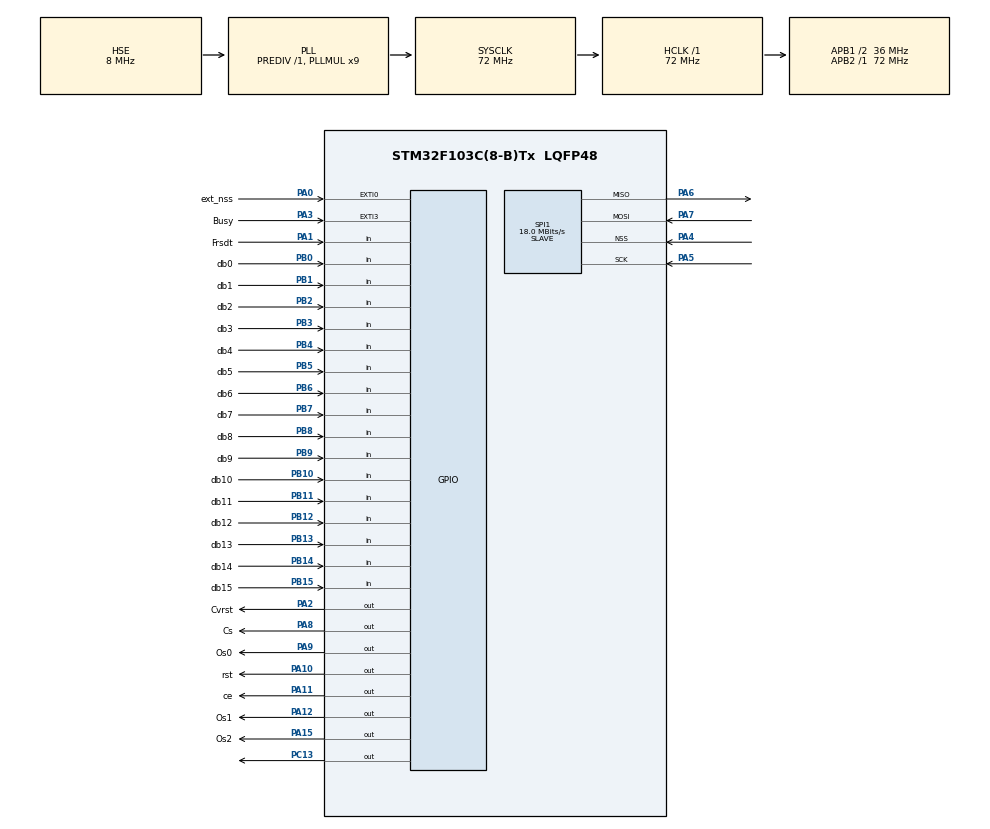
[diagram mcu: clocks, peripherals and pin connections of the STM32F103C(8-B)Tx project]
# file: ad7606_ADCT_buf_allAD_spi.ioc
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Dma.Request0=SPI1_RX
Dma.Request1=SPI1_TX
Dma.SPI1_RX.0.Direction=DMA_PERIPH_TO_MEMORY
Dma.SPI1_RX.0.Instance=DMA1_Channel2
Dma.SPI1_RX.0.MemDataAlignment=DMA_MDATAALIGN_BYTE
Dma.SPI1_RX.0.MemInc=DMA_MINC_ENABLE
Dma.SPI1_RX.0.Mode=DMA_CIRCULAR
Dma.SPI1_RX.0.PeriphDataAlignment=DMA_PDATAALIGN_BYTE
Dma.SPI1_RX.0.PeriphInc=DMA_PINC_DISABLE
Dma.SPI1_RX.0.Priority=DMA_PRIORITY_HIGH
Dma.SPI1_TX.1.Direction=DMA_MEMORY_TO_PERIPH
Dma.SPI1_TX.1.Instance=DMA1_Channel3
Dma.SPI1_TX.1.MemDataAlignment=DMA_MDATAALIGN_BYTE
Dma.SPI1_TX.1.MemInc=DMA_MINC_ENABLE
Dma.SPI1_TX.1.Mode=DMA_CIRCULAR
Dma.SPI1_TX.1.PeriphDataAlignment=DMA_PDATAALIGN_BYTE
Dma.SPI1_TX.1.PeriphInc=DMA_PINC_DISABLE
Dma.SPI1_TX.1.Priority=DMA_PRIORITY_HIGH
FREERTOS.BinarySemaphores01=habAQ,Dynamic,NULL;habENV,Dynamic,NULL
FREERTOS.INCLUDE_xEventGroupSetBitFromISR=0
FREERTOS.Tasks01=enviaTask,0,128,StartEnviaTask,Default,NULL,Dynamic,NULL,NULL;aquisitaTask,2,128,StartAquisitaTask,Default,NULL,Dynamic,NULL,NULL
Mcu.Family=STM32F1
Mcu.Name=STM32F103C(8-B)Tx
Mcu.Package=LQFP48
NVIC.DMA1_Channel2_IRQn=true\:5\:0\:false\:false\:true\:true\:false\:true
NVIC.DMA1_Channel3_IRQn=true\:5\:0\:true\:false\:true\:true\:false\:true
NVIC.EXTI0_IRQn=true\:5\:0\:false\:false\:true\:true\:true\:true
NVIC.EXTI3_IRQn=true\:5\:0\:true\:false\:true\:true\:true\:true
NVIC.PriorityGroup=NVIC_PRIORITYGROUP_4
NVIC.SPI1_IRQn=true\:5\:0\:true\:false\:true\:true\:true\:true
NVIC.TIM2_IRQn=true\:0\:0\:false\:false\:true\:false\:false\:true
NVIC.TimeBase=TIM2_IRQn
NVIC.TimeBaseIP=TIM2
PA0-WKUP.GPIO_Label=ext_nss
PA0-WKUP.Signal=GPXTI0
PA1.GPIO_Label=Frsdt
PA1.Signal=GPIO_Input
PA10.GPIO_Label=rst
PA10.GPIO_Speed=GPIO_SPEED_FREQ_LOW
PA10.Signal=GPIO_Output
PA11.GPIO_Label=ce
PA11.GPIO_Speed=GPIO_SPEED_FREQ_HIGH
PA11.Signal=GPIO_Output
PA12.GPIO_Label=Os1
PA12.Signal=GPIO_Output
PA13.Mode=Serial_Wire
PA13.Signal=SYS_JTMS-SWDIO
PA14.Mode=Serial_Wire
PA14.Signal=SYS_JTCK-SWCLK
PA15.GPIO_Label=Os2
PA15.Signal=GPIO_Output
PA2.GPIO_Label=Cvrst
PA2.GPIO_Speed=GPIO_SPEED_FREQ_HIGH
PA2.PinState=GPIO_PIN_SET
PA2.Signal=GPIO_Output
PA3.GPIO_Label=Busy
PA3.GPIO_ModeDefaultEXTI=GPIO_MODE_IT_FALLING
PA3.GPIO_PuPd=GPIO_PULLDOWN
PA3.Signal=GPXTI3
PA4.Mode=NSS_Signal_Hard_Input
PA4.Signal=SPI1_NSS
PA5.Mode=Full_Duplex_Slave
PA5.Signal=SPI1_SCK
PA6.Mode=Full_Duplex_Slave
PA6.Signal=SPI1_MISO
PA7.Mode=Full_Duplex_Slave
PA7.Signal=SPI1_MOSI
PA8.GPIO_Label=Cs
PA8.GPIO_Speed=GPIO_SPEED_FREQ_HIGH
PA8.PinState=GPIO_PIN_SET
PA8.Signal=GPIO_Output
PA9.GPIO_Label=Os0
PA9.Signal=GPIO_Output
PB0.GPIO_Label=db0
PB0.Signal=GPIO_Input
PB1.GPIO_Label=db1
PB1.Signal=GPIO_Input
PB10.GPIO_Label=db10
PB10.Signal=GPIO_Input
PB11.GPIO_Label=db11
PB11.Signal=GPIO_Input
PB12.GPIO_Label=db12
PB12.Signal=GPIO_Input
PB13.GPIO_Label=db13
PB13.Signal=GPIO_Input
PB14.GPIO_Label=db14
PB14.Signal=GPIO_Input
PB15.GPIO_Label=db15
PB15.Signal=GPIO_Input
PB2.GPIO_Label=db2
PB2.Signal=GPIO_Input
PB3.GPIO_Label=db3
PB3.Signal=GPIO_Input
PB4.GPIO_Label=db4
PB4.Signal=GPIO_Input
PB5.GPIO_Label=db5
PB5.Signal=GPIO_Input
PB6.GPIO_Label=db6
PB6.Signal=GPIO_Input
PB7.GPIO_Label=db7
PB7.Signal=GPIO_Input
PB8.GPIO_Label=db8
PB8.Signal=GPIO_Input
PB9.GPIO_Label=db9
PB9.Signal=GPIO_Input
PC13-TAMPER-RTC.Signal=GPIO_Output
PC14-OSC32_IN.Mode=LSE-External-Oscillator
PC14-OSC32_IN.Signal=RCC_OSC32_IN
PC15-OSC32_OUT.Mode=LSE-External-Oscillator
PC15-OSC32_OUT.Signal=RCC_OSC32_OUT
PD0-OSC_IN.Mode=HSE-External-Oscillator
PD0-OSC_IN.Signal=RCC_OSC_IN
PD1-OSC_OUT.Mode=HSE-External-Oscillator
PD1-OSC_OUT.Signal=RCC_OSC_OUT
ProjectManager.HeapSize=0x200
ProjectManager.StackSize=0x400
ProjectManager.TargetToolchain=STM32CubeIDE
RCC.AHBFreq_Value=72000000
RCC.APB1CLKDivider=RCC_HCLK_DIV2
RCC.APB1Freq_Value=36000000
RCC.APB1TimFreq_Value=72000000
RCC.APB2Freq_Value=72000000
RCC.APB2TimFreq_Value=72000000
RCC.HCLKFreq_Value=72000000
RCC.PLLMUL=RCC_PLL_MUL9
RCC.PLLSourceVirtual=RCC_PLLSOURCE_HSE
RCC.RTCClockSelection=RCC_RTCCLKSOURCE_LSE
RCC.SYSCLKFreq_VALUE=72000000
RCC.SYSCLKSource=RCC_SYSCLKSOURCE_PLLCLK
RCC.USBFreq_Value=48000000
RCC.USBPrescaler=RCC_USBCLKSOURCE_PLL_DIV1_5
RTC.AutoPrediv=0
RTC.Format=RTC_FORMAT_BIN
RTC.OutPut=RTC_OUTPUTSOURCE_SECOND
SPI1.BaudRatePrescaler=SPI_BAUDRATEPRESCALER_4
SPI1.CalculateBaudRate=18.0 MBits/s
SPI1.DataSize=SPI_DATASIZE_8BIT
SPI1.Direction=SPI_DIRECTION_2LINES
SPI1.Mode=SPI_MODE_SLAVE
SPI1.VirtualNSS=VM_NSSHARD
SPI1.VirtualType=VM_SLAVE
VP_FREERTOS_VS_CMSIS_V1.Mode=CMSIS_V1
VP_RTC_VS_RTC_Activate.Mode=RTC_Enabled
VP_SYS_VS_tim2.Mode=TIM2
board=custom

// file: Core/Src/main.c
/* USER CODE BEGIN Header */
/**
  ******************************************************************************
  * @file           : main.c
  * @brief          : Main program body
  ******************************************************************************
  * @attention
  *
  * <h2><center>&copy; Copyright (c) 2020 STMicroelectronics.
  * All rights reserved.</center></h2>
  *
  * This software component is licensed by ST under Ultimate Liberty license
  * SLA0044, the "License"; You may not use this file except in compliance with
  * the License. You may obtain a copy of the License at:
  *                             www.st.com/SLA0044
  *
  ******************************************************************************
  */
/* USER CODE END Header */

#include "main.h"
#include "cmsis_os.h"

/* USER CODE BEGIN Includes */
#include "stream_buffer.h"
/* USER CODE END Includes */

/* USER CODE BEGIN PTD */
StreamBufferHandle_t xStreamBuffer;
/* USER CODE END PTD */

RTC_HandleTypeDef hrtc;

SPI_HandleTypeDef hspi1;
DMA_HandleTypeDef hdma_spi1_rx;
DMA_HandleTypeDef hdma_spi1_tx;

osThreadId enviaTaskHandle;
osThreadId aquisitaTaskHandle;
osSemaphoreId habAQHandle;
osSemaphoreId habENVHandle;

void SystemClock_Config(void);
static void MX_GPIO_Init(void);
static void MX_DMA_Init(void);
static void MX_SPI1_Init(void);
static void MX_RTC_Init(void);
void StartEnviaTask(void const * argument);
void StartAquisitaTask(void const * argument);

/* USER CODE BEGIN PFP */
void HAL_GPIO_EXTI_Callback(uint16_t GPIO_Pin);
void Reset(void);
void Oversampling(void);
void Range(void);
void Converst(void);
void Read(void);
void vAFunction( void );
void vA_send_Function(  uint8_t to_send[16] );
void vA_receive_Function(void);
/* USER CODE END PFP */

int main(void)
{

  /* MCU Configuration--------------------------------------------------------*/

  /* Reset of all peripherals, Initializes the Flash interface and the Systick. */
  HAL_Init();

  /* Configure the system clock */
  SystemClock_Config();

  /* Initialize all configured peripherals */
  MX_GPIO_Init();
  MX_DMA_Init();
  MX_SPI1_Init();
  MX_RTC_Init();

  /* Create the semaphores(s) */
  /* definition and creation of habAQ */
  osSemaphoreDef(habAQ);
  habAQHandle = osSemaphoreCreate(osSemaphore(habAQ), 1);

  /* definition and creation of habENV */
  osSemaphoreDef(habENV);
  habENVHandle = osSemaphoreCreate(osSemaphore(habENV), 1);

  /* Create the thread(s) */
  /* definition and creation of enviaTask */
  osThreadDef(enviaTask, StartEnviaTask, osPriorityNormal, 0, 128);
  enviaTaskHandle = osThreadCreate(osThread(enviaTask), NULL);

  /* definition and creation of aquisitaTask */
  osThreadDef(aquisitaTask, StartAquisitaTask, osPriorityHigh, 0, 128);
  aquisitaTaskHandle = osThreadCreate(osThread(aquisitaTask), NULL);

  /* Start scheduler */
  osKernelStart();

  /* We should never get here as control is now taken by the scheduler */
  /* Infinite loop */
  while (1)
  {

  }
}

void SystemClock_Config(void)
{
  RCC_OscInitTypeDef RCC_OscInitStruct = {0};
  RCC_ClkInitTypeDef RCC_ClkInitStruct = {0};
  RCC_PeriphCLKInitTypeDef PeriphClkInit = {0};

  /** Initializes the CPU, AHB and APB busses clocks
  */
  RCC_OscInitStruct.OscillatorType = RCC_OSCILLATORTYPE_HSE|RCC_OSCILLATORTYPE_LSE;
  RCC_OscInitStruct.HSEState = RCC_HSE_ON;
  RCC_OscInitStruct.HSEPredivValue = RCC_HSE_PREDIV_DIV1;
  RCC_OscInitStruct.LSEState = RCC_LSE_ON;
  RCC_OscInitStruct.HSIState = RCC_HSI_ON;
  RCC_OscInitStruct.PLL.PLLState = RCC_PLL_ON;
  RCC_OscInitStruct.PLL.PLLSource = RCC_PLLSOURCE_HSE;
  RCC_OscInitStruct.PLL.PLLMUL = RCC_PLL_MUL9;
  if (HAL_RCC_OscConfig(&RCC_OscInitStruct) != HAL_OK)
  {
    Error_Handler();
  }
  /** Initializes the CPU, AHB and APB busses clocks
  */
  RCC_ClkInitStruct.ClockType = RCC_CLOCKTYPE_HCLK|RCC_CLOCKTYPE_SYSCLK
                              |RCC_CLOCKTYPE_PCLK1|RCC_CLOCKTYPE_PCLK2;
  RCC_ClkInitStruct.SYSCLKSource = RCC_SYSCLKSOURCE_PLLCLK;
  RCC_ClkInitStruct.AHBCLKDivider = RCC_SYSCLK_DIV1;
  RCC_ClkInitStruct.APB1CLKDivider = RCC_HCLK_DIV2;
  RCC_ClkInitStruct.APB2CLKDivider = RCC_HCLK_DIV1;

  if (HAL_RCC_ClockConfig(&RCC_ClkInitStruct, FLASH_LATENCY_2) != HAL_OK)
  {
    Error_Handler();
  }
  PeriphClkInit.PeriphClockSelection = RCC_PERIPHCLK_RTC;
  PeriphClkInit.RTCClockSelection = RCC_RTCCLKSOURCE_LSE;
  if (HAL_RCCEx_PeriphCLKConfig(&PeriphClkInit) != HAL_OK)
  {
    Error_Handler();
  }
}

static void MX_RTC_Init(void)
{

  /** Initialize RTC Only
  */
  hrtc.Instance = RTC;
  hrtc.Init.AsynchPrediv = 127;
  hrtc.Init.OutPut = RTC_OUTPUTSOURCE_SECOND;
  if (HAL_RTC_Init(&hrtc) != HAL_OK)
  {
    Error_Handler();
  }

}

static void MX_SPI1_Init(void)
{

  /* SPI1 parameter configuration*/
  hspi1.Instance = SPI1;
  hspi1.Init.Mode = SPI_MODE_SLAVE;
  hspi1.Init.Direction = SPI_DIRECTION_2LINES;
  hspi1.Init.DataSize = SPI_DATASIZE_8BIT;
  hspi1.Init.CLKPolarity = SPI_POLARITY_LOW;
  hspi1.Init.CLKPhase = SPI_PHASE_1EDGE;
  hspi1.Init.NSS = SPI_NSS_HARD_INPUT;
  hspi1.Init.BaudRatePrescaler = SPI_BAUDRATEPRESCALER_4;
  hspi1.Init.FirstBit = SPI_FIRSTBIT_MSB;
  hspi1.Init.TIMode = SPI_TIMODE_DISABLE;
  hspi1.Init.CRCCalculation = SPI_CRCCALCULATION_DISABLE;
  hspi1.Init.CRCPolynomial = 10;
  if (HAL_SPI_Init(&hspi1) != HAL_OK)
  {
    Error_Handler();
  }

}

static void MX_DMA_Init(void)
{

  /* DMA controller clock enable */
  __HAL_RCC_DMA1_CLK_ENABLE();

  /* DMA interrupt init */
  /* DMA1_Channel2_IRQn interrupt configuration */
  HAL_NVIC_SetPriority(DMA1_Channel2_IRQn, 5, 0);
  HAL_NVIC_EnableIRQ(DMA1_Channel2_IRQn);
  /* DMA1_Channel3_IRQn interrupt configuration */
  HAL_NVIC_SetPriority(DMA1_Channel3_IRQn, 5, 0);
  HAL_NVIC_EnableIRQ(DMA1_Channel3_IRQn);

}

static void MX_GPIO_Init(void)
{
  GPIO_InitTypeDef GPIO_InitStruct = {0};

  /* GPIO Ports Clock Enable */
  __HAL_RCC_GPIOC_CLK_ENABLE();
  __HAL_RCC_GPIOD_CLK_ENABLE();
  __HAL_RCC_GPIOA_CLK_ENABLE();
  __HAL_RCC_GPIOB_CLK_ENABLE();

  /*Configure GPIO pin Output Level */
  HAL_GPIO_WritePin(GPIOC, GPIO_PIN_13, GPIO_PIN_RESET);

  /*Configure GPIO pin Output Level */
  HAL_GPIO_WritePin(GPIOA, Cvrst_Pin|Cs_Pin, GPIO_PIN_SET);

  /*Configure GPIO pin Output Level */
  HAL_GPIO_WritePin(GPIOA, Os0_Pin|rst_Pin|ce_Pin|Os1_Pin
                          |Os2_Pin, GPIO_PIN_RESET);

  /*Configure GPIO pin : PC13 */
  GPIO_InitStruct.Pin = GPIO_PIN_13;
  GPIO_InitStruct.Mode = GPIO_MODE_OUTPUT_PP;
  GPIO_InitStruct.Pull = GPIO_NOPULL;
  GPIO_InitStruct.Speed = GPIO_SPEED_FREQ_LOW;
  HAL_GPIO_Init(GPIOC, &GPIO_InitStruct);

  /*Configure GPIO pin : ext_nss_Pin */
  GPIO_InitStruct.Pin = ext_nss_Pin;
  GPIO_InitStruct.Mode = GPIO_MODE_IT_RISING;
  GPIO_InitStruct.Pull = GPIO_NOPULL;
  HAL_GPIO_Init(ext_nss_GPIO_Port, &GPIO_InitStruct);

  /*Configure GPIO pin : Frsdt_Pin */
  GPIO_InitStruct.Pin = Frsdt_Pin;
  GPIO_InitStruct.Mode = GPIO_MODE_INPUT;
  GPIO_InitStruct.Pull = GPIO_NOPULL;
  HAL_GPIO_Init(Frsdt_GPIO_Port, &GPIO_InitStruct);

  /*Configure GPIO pins : Cvrst_Pin Cs_Pin ce_Pin */
  GPIO_InitStruct.Pin = Cvrst_Pin|Cs_Pin|ce_Pin;
  GPIO_InitStruct.Mode = GPIO_MODE_OUTPUT_PP;
  GPIO_InitStruct.Pull = GPIO_NOPULL;
  GPIO_InitStruct.Speed = GPIO_SPEED_FREQ_HIGH;
  HAL_GPIO_Init(GPIOA, &GPIO_InitStruct);

  /*Configure GPIO pin : Busy_Pin */
  GPIO_InitStruct.Pin = Busy_Pin;
  GPIO_InitStruct.Mode = GPIO_MODE_IT_FALLING;
  GPIO_InitStruct.Pull = GPIO_PULLDOWN;
  HAL_GPIO_Init(Busy_GPIO_Port, &GPIO_InitStruct);

  /*Configure GPIO pins : db0_Pin db1_Pin db2_Pin db10_Pin
                           db11_Pin db12_Pin db13_Pin db14_Pin
                           db15_Pin db3_Pin db4_Pin db5_Pin
                           db6_Pin db7_Pin db8_Pin db9_Pin */
  GPIO_InitStruct.Pin = db0_Pin|db1_Pin|db2_Pin|db10_Pin
                          |db11_Pin|db12_Pin|db13_Pin|db14_Pin
                          |db15_Pin|db3_Pin|db4_Pin|db5_Pin
                          |db6_Pin|db7_Pin|db8_Pin|db9_Pin;
  GPIO_InitStruct.Mode = GPIO_MODE_INPUT;
  GPIO_InitStruct.Pull = GPIO_NOPULL;
  HAL_GPIO_Init(GPIOB, &GPIO_InitStruct);

  /*Configure GPIO pins : Os0_Pin rst_Pin Os1_Pin Os2_Pin */
  GPIO_InitStruct.Pin = Os0_Pin|rst_Pin|Os1_Pin|Os2_Pin;
  GPIO_InitStruct.Mode = GPIO_MODE_OUTPUT_PP;
  GPIO_InitStruct.Pull = GPIO_NOPULL;
  GPIO_InitStruct.Speed = GPIO_SPEED_FREQ_LOW;
  HAL_GPIO_Init(GPIOA, &GPIO_InitStruct);

  /* EXTI interrupt init*/
  HAL_NVIC_SetPriority(EXTI0_IRQn, 5, 0);
  HAL_NVIC_EnableIRQ(EXTI0_IRQn);

  HAL_NVIC_SetPriority(EXTI3_IRQn, 5, 0);
  HAL_NVIC_EnableIRQ(EXTI3_IRQn);

}

/* USER CODE BEGIN 4 */
void Reset(void)
{
	HAL_GPIO_WritePin(GPIOA, rst_Pin, 1);
	HAL_GPIO_WritePin(GPIOA, rst_Pin, 0);

}
void Oversampling(void)  //criado para comunicar com a placa que foi comprada depois
{
	HAL_GPIO_WritePin(GPIOA, Os0_Pin, 0);
	HAL_GPIO_WritePin(GPIOA, Os1_Pin, 0);
	HAL_GPIO_WritePin(GPIOA, Os2_Pin, 0);

}
void Range(void)  //criado para comunicar com a placa que foi comprada depois
{
	//HAL_GPIO_WritePin(GPIOA, range_Pin, 1);

}
void Converst(void)
{
	 HAL_GPIO_WritePin(GPIOA, Cvrst_Pin, 0);
	 HAL_GPIO_WritePin(GPIOA, Cvrst_Pin, 1);
}

 void Read(void)
{
	int i;
	uint16_t valor;
	static unsigned char valor2;
	static unsigned char valor3;
	static unsigned char canais[16];
	for (i=0; i<16;)
		{
			HAL_GPIO_WritePin(GPIOA, Cs_Pin, 0);//cs AD
			HAL_GPIO_WritePin(GPIOA, ce_Pin, 1); //enable buffer externo

			valor = GPIOB->IDR;   // captura a palavra de 16bits referente à portB onde estão os bits do AD
			valor2 = (valor & 255); // como o envio é feito em bytes, decompoe-se a palavra de 16 bits em 2 bytes (byte 2)
			valor3 = ((valor>>8) & 255);  // como o envio é feito em bytes, decompoe-se a palavra de 16 bits em 2 bytes (byte 1)
			canais[i]= valor3; //(byte 1)
			canais[i+1]= valor2; //(byte 2)

			//if (HAL_GPIO_ReadPin(GPIOA, Frsdt_Pin)==1)
			////{
				//i=0;
			//}

			i=i+2;
			HAL_GPIO_WritePin(GPIOA, Cs_Pin, 1);
			HAL_GPIO_WritePin(GPIOA, ce_Pin, 0);
		}

	vA_send_Function(canais);
}

/* USER CODE BEGIN 4 */
void HAL_GPIO_EXTI_Callback(uint16_t GPIO_Pin)  //interrupção de busy do AD responsável por iniciar a thread para aquisição
{
	if (GPIO_Pin == Busy_Pin)

	{
		osSemaphoreRelease (habAQHandle); //https://arm-software.github.io/CMSIS_5/RTOS/html/group__CMSIS__RTOS__SemaphoreMgmt.html

	}

}
void vAFunction( void ) // https://www.freertos.org/RTOS-stream-buffer-API.html
{
	//StreamBufferHandle_t xStreamBuffers;
	const size_t xStreamBufferSizeBytes = 1600, xTriggerLevel = 16;

    /* Create a stream buffer that can hold 100 bytes.  The memory used to hold
    both the stream buffer structure and the data in the stream buffer is
    allocated dynamically. */
    xStreamBuffer = xStreamBufferCreate( xStreamBufferSizeBytes, xTriggerLevel );

}

void vA_send_Function( unsigned char to_send[16]  )  // https://www.freertos.org/RTOS-stream-buffer-API.html
{
	size_t xBytesSent;

	const TickType_t x100ms = pdMS_TO_TICKS( 100 );

	xBytesSent = xStreamBufferSend( xStreamBuffer, (void *)to_send, 16, x100ms );

}

void vA_receive_Function(void)  // https://www.freertos.org/RTOS-stream-buffer-API.html
{
	static unsigned char ucRxData[16];
	size_t xReceivedBytes;
	const TickType_t xBlockTime = pdMS_TO_TICKS( 20 );

	xReceivedBytes = xStreamBufferReceive( xStreamBuffer, (void *)ucRxData, 16, xBlockTime );

	if( xReceivedBytes == sizeof( ucRxData ) )
	{

	  HAL_SPI_Transmit_DMA(&hspi1, ucRxData, 16);

	}
}
/* USER CODE END 4 */

void StartEnviaTask(void const * argument) //https://www.freertos.org/a00106.html
{
  /* USER CODE BEGIN 5 */
  /* Infinite loop */
  for(;;)
  {
	  osSemaphoreWait (habENVHandle, osWaitForever); //https://arm-software.github.io/CMSIS_5/RTOS/html/group__CMSIS__RTOS__SemaphoreMgmt.html
	  vA_receive_Function();
	  osDelay(1);
	  Converst();
  }
  /* USER CODE END 5 */
}

void StartAquisitaTask(void const * argument)  //https://www.freertos.org/a00106.html
{
  /* USER CODE BEGIN StartAquisitaTask */
	vAFunction();
  /* Infinite loop */
  for(;;)
  {

	  osSemaphoreWait (habAQHandle, osWaitForever ); //https://arm-software.github.io/CMSIS_5/RTOS/html/group__CMSIS__RTOS__SemaphoreMgmt.html
	  Read();
	  osSemaphoreRelease (habENVHandle); //https://arm-software.github.io/CMSIS_5/RTOS/html/group__CMSIS__RTOS__SemaphoreMgmt.html
	  osDelay(1);

  }
  /* USER CODE END StartAquisitaTask */
}

 /**
  * @brief  Period elapsed callback in non blocking mode
  * @note   This function is called  when TIM2 interrupt took place, inside
  * HAL_TIM_IRQHandler(). It makes a direct call to HAL_IncTick() to increment
  * a global variable "uwTick" used as application time base.
  * @param  htim : TIM handle
  * @retval None
  */
void HAL_TIM_PeriodElapsedCallback(TIM_HandleTypeDef *htim)
{
  if (htim->Instance == TIM2) {
    HAL_IncTick();
  }
}

void Error_Handler(void)
{
}

/************************ (C) COPYRIGHT STMicroelectronics *****END OF FILE****/
